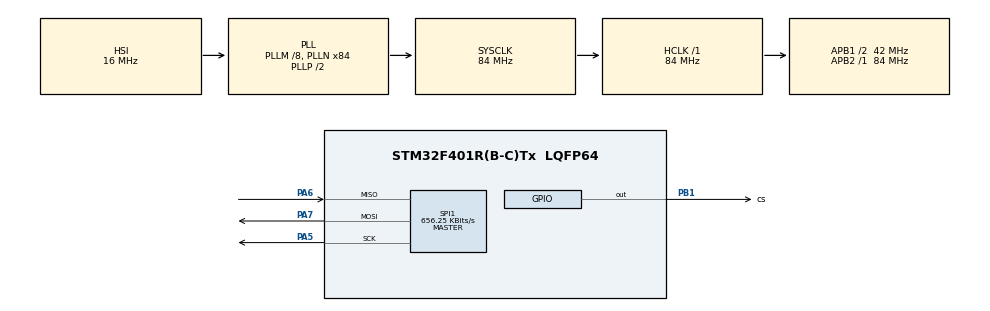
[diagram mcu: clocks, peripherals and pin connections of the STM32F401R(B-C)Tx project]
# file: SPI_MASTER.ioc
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Mcu.Family=STM32F4
Mcu.Name=STM32F401R(B-C)Tx
Mcu.Package=LQFP64
NVIC.PriorityGroup=NVIC_PRIORITYGROUP_4
NVIC.SPI1_IRQn=true\:0\:0\:false\:false\:true\:true\:true\:true
PA5.Mode=Full_Duplex_Master
PA5.Signal=SPI1_SCK
PA6.Mode=Full_Duplex_Master
PA6.Signal=SPI1_MISO
PA7.Mode=Full_Duplex_Master
PA7.Signal=SPI1_MOSI
PB1.GPIO_Label=cs
PB1.Signal=GPIO_Output
ProjectManager.HeapSize=0x200
ProjectManager.StackSize=0x400
ProjectManager.TargetToolchain=MDK-ARM V5.32
RCC.48MHZClocksFreq_Value=42000000
RCC.AHBFreq_Value=84000000
RCC.APB1CLKDivider=RCC_HCLK_DIV2
RCC.APB1Freq_Value=42000000
RCC.APB1TimFreq_Value=84000000
RCC.APB2Freq_Value=84000000
RCC.APB2TimFreq_Value=84000000
RCC.CortexFreq_Value=84000000
RCC.HCLKFreq_Value=84000000
RCC.HSE_VALUE=25000000
RCC.HSI_VALUE=16000000
RCC.LSE_VALUE=32768
RCC.PLLM=8
RCC.PLLN=84
RCC.SYSCLKFreq_VALUE=84000000
RCC.SYSCLKSource=RCC_SYSCLKSOURCE_PLLCLK
RCC.VCOOutputFreq_Value=168000000
SPI1.BaudRatePrescaler=SPI_BAUDRATEPRESCALER_128
SPI1.CLKPhase=SPI_PHASE_2EDGE
SPI1.CLKPolarity=SPI_POLARITY_HIGH
SPI1.CalculateBaudRate=656.25 KBits/s
SPI1.Direction=SPI_DIRECTION_2LINES
SPI1.Mode=SPI_MODE_MASTER
SPI1.VirtualType=VM_MASTER
board=custom

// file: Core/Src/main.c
/* USER CODE BEGIN Header */
/**
  ******************************************************************************
  * @file           : main.c
  * @brief          : Main program body
  ******************************************************************************
  * @attention
  *
  * Copyright (c) 2024 STMicroelectronics.
  * All rights reserved.
  *
  * This software is licensed under terms that can be found in the LICENSE file
  * in the root directory of this software component.
  * If no LICENSE file comes with this software, it is provided AS-IS.
  *
  ******************************************************************************
  */
/* USER CODE END Header */
#include "main.h"

SPI_HandleTypeDef hspi1;

void SystemClock_Config(void);
static void MX_GPIO_Init(void);
static void MX_SPI1_Init(void);

/* USER CODE BEGIN 0 */
uint8_t tx_data[13]={0xff,1,2,3,4,5,6,7,8,9,10,11,0xff};
uint8_t rx_data[5];
uint32_t a;
uint16_t fail;
uint16_t success;
uint8_t status;
uint16_t flag=0;
/* USER CODE END 0 */

int main(void)
{

  /* MCU Configuration--------------------------------------------------------*/

  /* Reset of all peripherals, Initializes the Flash interface and the Systick. */
  HAL_Init();

  /* Configure the system clock */
  SystemClock_Config();

  /* Initialize all configured peripherals */
  MX_GPIO_Init();
  MX_SPI1_Init();
  /* USER CODE BEGIN 2 */
  HAL_GPIO_WritePin(cs_GPIO_Port,cs_Pin,1);
  HAL_SPI_Receive_IT(&hspi1,rx_data, 5);

  /* USER CODE END 2 */

  /* Infinite loop */
  while (1)
  {

    /* USER CODE BEGIN 3 */
		tx_data[2]++;
HAL_GPIO_WritePin(cs_GPIO_Port,cs_Pin,0);
HAL_SPI_Transmit_IT(&hspi1,tx_data, 13);

 //  HAL_SPI_Transmit(&hspi1,tx_data,13, 1000);
 //  HAL_SPI_Receive(&hspi1,rx_data,5,2000);
//   if(flag==1)
//	 {
//	 HAL_SPI_Receive_IT(&hspi1,rx_data, 5);
//		 flag=0;
//	 }
	 HAL_Delay(500);
	 a++;

  }
  /* USER CODE END 3 */
}

void SystemClock_Config(void)
{
  RCC_OscInitTypeDef RCC_OscInitStruct = {0};
  RCC_ClkInitTypeDef RCC_ClkInitStruct = {0};

  /** Configure the main internal regulator output voltage
  */
  __HAL_RCC_PWR_CLK_ENABLE();
  __HAL_PWR_VOLTAGESCALING_CONFIG(PWR_REGULATOR_VOLTAGE_SCALE2);

  /** Initializes the RCC Oscillators according to the specified parameters
  * in the RCC_OscInitTypeDef structure.
  */
  RCC_OscInitStruct.OscillatorType = RCC_OSCILLATORTYPE_HSI;
  RCC_OscInitStruct.HSIState = RCC_HSI_ON;
  RCC_OscInitStruct.HSICalibrationValue = RCC_HSICALIBRATION_DEFAULT;
  RCC_OscInitStruct.PLL.PLLState = RCC_PLL_ON;
  RCC_OscInitStruct.PLL.PLLSource = RCC_PLLSOURCE_HSI;
  RCC_OscInitStruct.PLL.PLLM = 8;
  RCC_OscInitStruct.PLL.PLLN = 84;
  RCC_OscInitStruct.PLL.PLLP = RCC_PLLP_DIV2;
  RCC_OscInitStruct.PLL.PLLQ = 4;
  if (HAL_RCC_OscConfig(&RCC_OscInitStruct) != HAL_OK)
  {
    Error_Handler();
  }

  /** Initializes the CPU, AHB and APB buses clocks
  */
  RCC_ClkInitStruct.ClockType = RCC_CLOCKTYPE_HCLK|RCC_CLOCKTYPE_SYSCLK
                              |RCC_CLOCKTYPE_PCLK1|RCC_CLOCKTYPE_PCLK2;
  RCC_ClkInitStruct.SYSCLKSource = RCC_SYSCLKSOURCE_PLLCLK;
  RCC_ClkInitStruct.AHBCLKDivider = RCC_SYSCLK_DIV1;
  RCC_ClkInitStruct.APB1CLKDivider = RCC_HCLK_DIV2;
  RCC_ClkInitStruct.APB2CLKDivider = RCC_HCLK_DIV1;

  if (HAL_RCC_ClockConfig(&RCC_ClkInitStruct, FLASH_LATENCY_2) != HAL_OK)
  {
    Error_Handler();
  }
}

static void MX_SPI1_Init(void)
{

  /* SPI1 parameter configuration*/
  hspi1.Instance = SPI1;
  hspi1.Init.Mode = SPI_MODE_MASTER;
  hspi1.Init.Direction = SPI_DIRECTION_2LINES;
  hspi1.Init.DataSize = SPI_DATASIZE_8BIT;
  hspi1.Init.CLKPolarity = SPI_POLARITY_HIGH;
  hspi1.Init.CLKPhase = SPI_PHASE_2EDGE;
  hspi1.Init.NSS = SPI_NSS_SOFT;
  hspi1.Init.BaudRatePrescaler = SPI_BAUDRATEPRESCALER_128;
  hspi1.Init.FirstBit = SPI_FIRSTBIT_MSB;
  hspi1.Init.TIMode = SPI_TIMODE_DISABLE;
  hspi1.Init.CRCCalculation = SPI_CRCCALCULATION_DISABLE;
  hspi1.Init.CRCPolynomial = 10;
  if (HAL_SPI_Init(&hspi1) != HAL_OK)
  {
    Error_Handler();
  }

}

static void MX_GPIO_Init(void)
{
  GPIO_InitTypeDef GPIO_InitStruct = {0};

  /* GPIO Ports Clock Enable */
  __HAL_RCC_GPIOA_CLK_ENABLE();
  __HAL_RCC_GPIOB_CLK_ENABLE();

  /*Configure GPIO pin Output Level */
  HAL_GPIO_WritePin(cs_GPIO_Port, cs_Pin, GPIO_PIN_RESET);

  /*Configure GPIO pin : cs_Pin */
  GPIO_InitStruct.Pin = cs_Pin;
  GPIO_InitStruct.Mode = GPIO_MODE_OUTPUT_PP;
  GPIO_InitStruct.Pull = GPIO_NOPULL;
  GPIO_InitStruct.Speed = GPIO_SPEED_FREQ_LOW;
  HAL_GPIO_Init(cs_GPIO_Port, &GPIO_InitStruct);

}

/* USER CODE BEGIN 4 */
void HAL_SPI_RxCpltCallback(SPI_HandleTypeDef *hspi)
{
			if (rx_data[0]==0xff && rx_data[1] == 'a' && rx_data[4] == 0xff )
			{
				success++;
			}
			else{
				fail++;
			}
}

void HAL_SPI_TxCpltCallback(SPI_HandleTypeDef * hspi)
{
  HAL_GPIO_WritePin(cs_GPIO_Port,cs_Pin,1);
	HAL_SPI_Receive_IT(&hspi1,rx_data, 5);
}
/* USER CODE END 4 */

void Error_Handler(void)
{
  __disable_irq();
  while (1)
  {
  }
}
